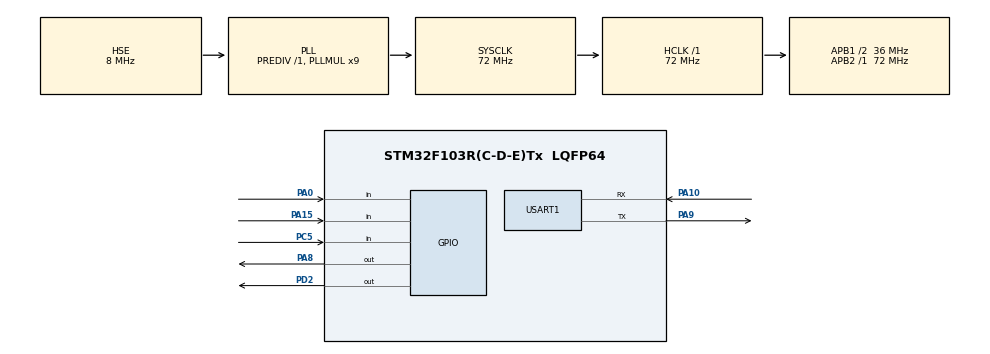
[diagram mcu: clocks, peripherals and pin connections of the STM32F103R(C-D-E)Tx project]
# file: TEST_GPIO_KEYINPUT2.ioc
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Mcu.Family=STM32F1
Mcu.Name=STM32F103R(C-D-E)Tx
Mcu.Package=LQFP64
NVIC.PriorityGroup=NVIC_PRIORITYGROUP_4
NVIC.USART1_IRQn=true\:0\:0\:false\:false\:true
PA0-WKUP.GPIO_PuPd=GPIO_PULLDOWN
PA0-WKUP.Signal=GPIO_Input
PA10.Mode=Asynchronous
PA10.Signal=USART1_RX
PA13.Mode=Serial_Wire
PA13.Signal=SYS_JTMS-SWDIO
PA14.Mode=Serial_Wire
PA14.Signal=SYS_JTCK-SWCLK
PA15.GPIO_PuPd=GPIO_PULLUP
PA15.Signal=GPIO_Input
PA8.Signal=GPIO_Output
PA9.Mode=Asynchronous
PA9.Signal=USART1_TX
PC5.GPIO_PuPd=GPIO_PULLUP
PC5.Signal=GPIO_Input
PD0-OSC_IN.Mode=HSE-External-Oscillator
PD0-OSC_IN.Signal=RCC_OSC_IN
PD1-OSC_OUT.Mode=HSE-External-Oscillator
PD1-OSC_OUT.Signal=RCC_OSC_OUT
PD2.Signal=GPIO_Output
ProjectManager.HeapSize=0x200
ProjectManager.StackSize=0x400
ProjectManager.TargetToolchain=MDK-ARM V5
RCC.AHBFreq_Value=72000000
RCC.APB1CLKDivider=RCC_HCLK_DIV2
RCC.APB1Freq_Value=36000000
RCC.APB1TimFreq_Value=72000000
RCC.APB2Freq_Value=72000000
RCC.APB2TimFreq_Value=72000000
RCC.HCLKFreq_Value=72000000
RCC.PLLMUL=RCC_PLL_MUL9
RCC.PLLSourceVirtual=RCC_PLLSOURCE_HSE
RCC.SYSCLKFreq_VALUE=72000000
RCC.SYSCLKSource=RCC_SYSCLKSOURCE_PLLCLK
RCC.USBFreq_Value=72000000
USART1.VirtualMode=VM_ASYNC
board=TEST_GPIO_KEYINPUT2

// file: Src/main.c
/**
  ******************************************************************************
  * File Name          : main.c
  * Description        : Main program body
  ******************************************************************************
  ** This notice applies to any and all portions of this file
  * that are not between comment pairs USER CODE BEGIN and
  * USER CODE END. Other portions of this file, whether
  * inserted by the user or by software development tools
  * are owned by their respective copyright owners.
  *
  * COPYRIGHT(c) 2017 STMicroelectronics
  *
  * Redistribution and use in source and binary forms, with or without modification,
  * are permitted provided that the following conditions are met:
  *   1. Redistributions of source code must retain the above copyright notice,
  *      this list of conditions and the following disclaimer.
  *   2. Redistributions in binary form must reproduce the above copyright notice,
  *      this list of conditions and the following disclaimer in the documentation
  *      and/or other materials provided with the distribution.
  *   3. Neither the name of STMicroelectronics nor the names of its contributors
  *      may be used to endorse or promote products derived from this software
  *      without specific prior written permission.
  *
  * THIS SOFTWARE IS PROVIDED BY THE COPYRIGHT HOLDERS AND CONTRIBUTORS "AS IS"
  * AND ANY EXPRESS OR IMPLIED WARRANTIES, INCLUDING, BUT NOT LIMITED TO, THE
  * IMPLIED WARRANTIES OF MERCHANTABILITY AND FITNESS FOR A PARTICULAR PURPOSE ARE
  * DISCLAIMED. IN NO EVENT SHALL THE COPYRIGHT HOLDER OR CONTRIBUTORS BE LIABLE
  * FOR ANY DIRECT, INDIRECT, INCIDENTAL, SPECIAL, EXEMPLARY, OR CONSEQUENTIAL
  * DAMAGES (INCLUDING, BUT NOT LIMITED TO, PROCUREMENT OF SUBSTITUTE GOODS OR
  * SERVICES; LOSS OF USE, DATA, OR PROFITS; OR BUSINESS INTERRUPTION) HOWEVER
  * CAUSED AND ON ANY THEORY OF LIABILITY, WHETHER IN CONTRACT, STRICT LIABILITY,
  * OR TORT (INCLUDING NEGLIGENCE OR OTHERWISE) ARISING IN ANY WAY OUT OF THE USE
  * OF THIS SOFTWARE, EVEN IF ADVISED OF THE POSSIBILITY OF SUCH DAMAGE.
  *
  ******************************************************************************
  */
#include "main.h"
#include "stm32f1xx_hal.h"
#include "usart.h"
#include "gpio.h"

/* USER CODE BEGIN Includes */

#include "sys.h"
#include "led.h"
#include "key.h"

/* USER CODE END Includes */

/* USER CODE BEGIN PV */
/* Private variables ---------------------------------------------------------*/

/* USER CODE END PV */

void SystemClock_Config(void);

/* USER CODE BEGIN PFP */
/* Private function prototypes -----------------------------------------------*/

/* USER CODE END PFP */

int main(void)
{

  /* MCU Configuration----------------------------------------------------------*/

  /* Reset of all peripherals, Initializes the Flash interface and the Systick. */
  HAL_Init();

  /* Configure the system clock */
  SystemClock_Config();

  /* Initialize all configured peripherals */
  MX_GPIO_Init();
  MX_USART1_UART_Init();

  /* USER CODE BEGIN 2 */
	LED0 = 1;
	LED1 = 1;
  /* USER CODE END 2 */

  /* Infinite loop */
  while (1)
  {

  /* USER CODE BEGIN 3 */

		if( KEY0 == 0 )
		{
			HAL_Delay(10);
			LED0 = 0;
			LED1 = 1;
		}
		if( KEY1 == 0 )
		{
			HAL_Delay(10);
			LED0 = 1;
			LED1 = 0;
		}
		if( WKUP == 1 )
		{
			HAL_Delay(10);
			LED0 = 0;
			LED1 = 0;
		}
  }
  /* USER CODE END 3 */

}

/** System Clock Configuration
*/
void SystemClock_Config(void)
{

  RCC_OscInitTypeDef RCC_OscInitStruct;
  RCC_ClkInitTypeDef RCC_ClkInitStruct;

    /**Initializes the CPU, AHB and APB busses clocks
    */
  RCC_OscInitStruct.OscillatorType = RCC_OSCILLATORTYPE_HSE;
  RCC_OscInitStruct.HSEState = RCC_HSE_ON;
  RCC_OscInitStruct.HSEPredivValue = RCC_HSE_PREDIV_DIV1;
  RCC_OscInitStruct.HSIState = RCC_HSI_ON;
  RCC_OscInitStruct.PLL.PLLState = RCC_PLL_ON;
  RCC_OscInitStruct.PLL.PLLSource = RCC_PLLSOURCE_HSE;
  RCC_OscInitStruct.PLL.PLLMUL = RCC_PLL_MUL9;
  if (HAL_RCC_OscConfig(&RCC_OscInitStruct) != HAL_OK)
  {
    _Error_Handler(__FILE__, __LINE__);
  }

    /**Initializes the CPU, AHB and APB busses clocks
    */
  RCC_ClkInitStruct.ClockType = RCC_CLOCKTYPE_HCLK|RCC_CLOCKTYPE_SYSCLK
                              |RCC_CLOCKTYPE_PCLK1|RCC_CLOCKTYPE_PCLK2;
  RCC_ClkInitStruct.SYSCLKSource = RCC_SYSCLKSOURCE_PLLCLK;
  RCC_ClkInitStruct.AHBCLKDivider = RCC_SYSCLK_DIV1;
  RCC_ClkInitStruct.APB1CLKDivider = RCC_HCLK_DIV2;
  RCC_ClkInitStruct.APB2CLKDivider = RCC_HCLK_DIV1;

  if (HAL_RCC_ClockConfig(&RCC_ClkInitStruct, FLASH_LATENCY_2) != HAL_OK)
  {
    _Error_Handler(__FILE__, __LINE__);
  }

    /**Configure the Systick interrupt time
    */
  HAL_SYSTICK_Config(HAL_RCC_GetHCLKFreq()/1000);

    /**Configure the Systick
    */
  HAL_SYSTICK_CLKSourceConfig(SYSTICK_CLKSOURCE_HCLK);

  /* SysTick_IRQn interrupt configuration */
  HAL_NVIC_SetPriority(SysTick_IRQn, 0, 0);
}

void _Error_Handler(char * file, int line)
{
  while(1)
  {
  }
}

/************************ (C) COPYRIGHT STMicroelectronics *****END OF FILE****/
